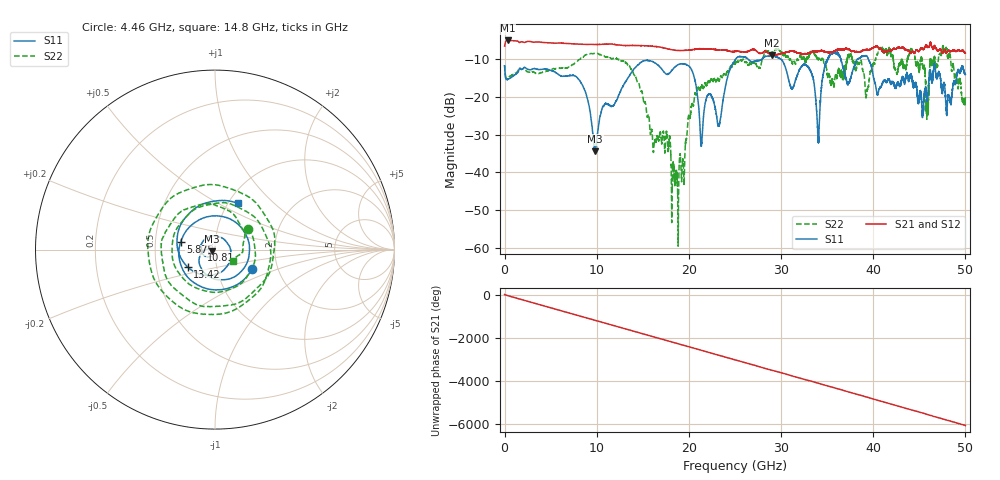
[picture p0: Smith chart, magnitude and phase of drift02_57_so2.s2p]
!Created with skrf (http://scikit-rf.org).
# Hz S RI R 50.0
!freq ReS11 ImS11 ReS21 ImS21 ReS12 ImS12 ReS22 ImS22
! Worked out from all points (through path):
!   10001 points, 300 kHz to 50 GHz, reference 50 ohm
!   highest |S21| = -5.04 dB at 325.3 MHz (marker M1); lowest = -9.0 dB at 29.05 GHz (marker M2)
!   group delay of S21, straight-line fit = 336 ps
!   lowest |S11| = -34.4 dB at 9.83 GHz (marker M3), VSWR 1.04, Z = 48.4 - j0.999 ohm
!   |S11| at or under -10 dB: start of sweep to 25.08 GHz; 29.97 GHz to 35.05 GHz (5.081 GHz wide, 15.6 % of centre); 39.48 GHz to end of sweep (the widest 3 of 8)
!   |S22| runs from -59.6 to -6.3 dB; largest |S21 - S12| = 0.021
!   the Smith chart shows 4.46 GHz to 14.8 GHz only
!   S11 on the Smith chart (normalised r, x): 4.46 GHz: 1.47, -0.34; 5.875 GHz: 0.68, +0.06; 10.81 GHz: 0.86, +0.00; 13.42 GHz: 0.72, -0.14; 14.8 GHz: 1.11, +0.62
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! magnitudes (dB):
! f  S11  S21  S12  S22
! 300 kHz  -11.7  -6.5  -6.4  -11.6
! 325.3 MHz  -15.4  -5.0  -5.0  -15.0
! 4.46 GHz  -12.6  -5.6  -5.6  -13.3
! 5.875 GHz  -14.1  -5.7  -5.7  -12.5
! 8.335 GHz  -16.4  -6.0  -6.0  -9.6
! 9.83 GHz  -34.4  -6.1  -6.1  -8.5
! 10.81 GHz  -22.2  -6.0  -6.0  -9.2
! 13.42 GHz  -14.9  -6.4  -6.4  -11.6
! 14.8 GHz  -10.9  -6.4  -6.4  -18.5
! 16.67 GHz  -11.6  -6.7  -6.7  -31.0
! 18.67 GHz  -11.8  -7.7  -7.7  -40.4
! 20.37 GHz  -13.3  -7.5  -7.5  -22.1
! 21.37 GHz  -32.6  -7.2  -7.3  -17.0
! 25 GHz  -10.3  -7.9  -8.0  -11.2
! 29.05 GHz  -9.1  -9.0  -9.0  -8.2
! 33.34 GHz  -13.9  -8.0  -8.1  -8.1
! 34.02 GHz  -31.3  -7.9  -7.9  -10.2
! 35.54 GHz  -8.4  -8.1  -8.1  -15.3
! 41.67 GHz  -15.3  -7.7  -7.8  -7.4
! 45.86 GHz  -21.2  -6.7  -6.7  -20.4
! 47.76 GHz  -17.1  -7.5  -7.5  -7.7
! 50 GHz  -14.0  -8.4  -8.4  -20.4
